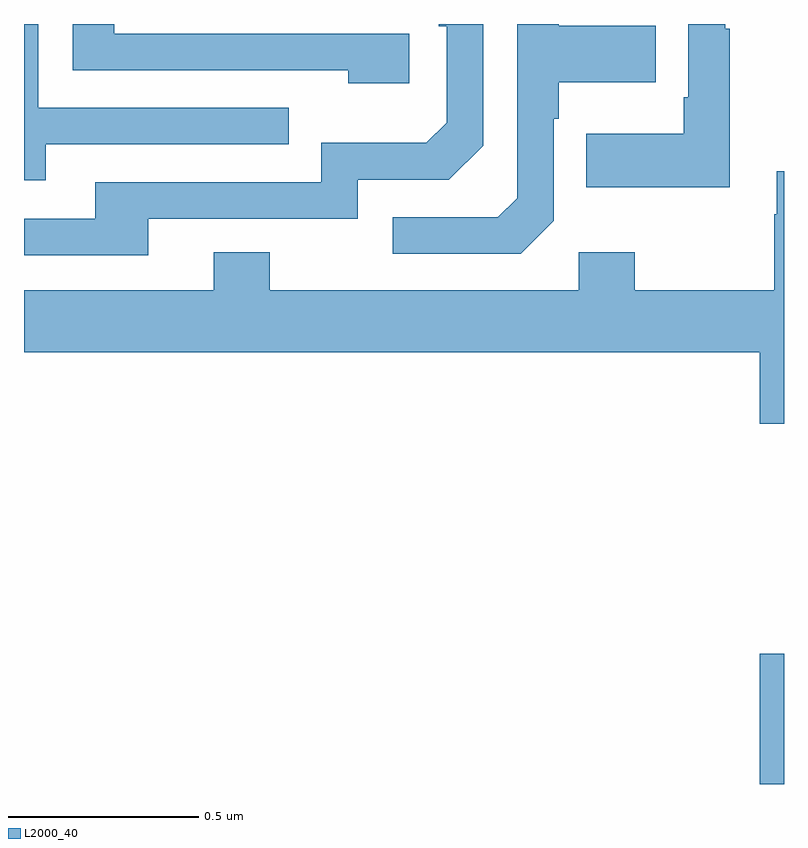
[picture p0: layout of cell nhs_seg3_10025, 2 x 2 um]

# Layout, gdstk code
import gdstk
lib = gdstk.Library(unit=1e-6, precision=1e-09)
def R(c, l, rs):  # rectangles x0, y0, x1, y1
    for r in rs: c.add(gdstk.rectangle(r[:2], r[2:], *l))
def P(c, l, *ps):  # polygons
    for p in ps: c.add(gdstk.Polygon(p, *l))
L2000_40 = (2000, 40)

nhs_seg3_10025 = lib.new_cell('nhs_seg3_10025')
R(nhs_seg3_10025, L2000_40, [(236.936,746.4,237,746.743)])
P(nhs_seg3_10025, L2000_40, [(235.057,748.083),(235.697,748.083),(235.697,748.179),(235.038,748.179),(235.038,748.4),(235,748.4),(235,747.989),(235.057,747.989)],
  [(236.394,747.882),(236.394,748.151),(236.407,748.151),(236.407,748.247),(236.663,748.247),(236.663,748.395),(236.407,748.395),(236.407,748.4),(236.298,748.4),(236.298,747.942),(236.247,747.891),(235.971,747.891),(235.971,747.795),(236.307,747.795)],
  [(235.327,747.888),(235.878,747.888),(235.878,747.99),(236.118,747.99),(236.208,748.08),(236.208,748.4),(236.092,748.4),(236.092,748.394),(236.112,748.394),(236.112,748.14),(236.059,748.087),(235.782,748.087),(235.782,747.984),(235.187,747.984),(235.187,747.888),(235,747.888),(235,747.792),(235.327,747.792)],
  [(236.857,748.387),(236.845,748.387),(236.845,748.4),(236.748,748.4),(236.748,748.207),(236.736,748.207),(236.736,748.111),(236.479,748.111),(236.479,747.971),(236.857,747.971)],
  [(236.014,748.374),(235.237,748.374),(235.237,748.4),(235.128,748.4),(235.128,748.278),(235.853,748.278),(235.853,748.244),(236.014,748.244)],
  [(236.46,747.799),(236.46,747.7),(235.647,747.7),(235.647,747.799),(235.499,747.799),(235.499,747.7),(235,747.7),(235,747.536),(236.936,747.536),(236.936,747.348),(237,747.348),(237,748.012),(236.981,748.012),(236.981,747.899),(236.974,747.899),(236.974,747.7),(236.607,747.7),(236.607,747.799)])

lib.write_gds('nhs_seg3_10025.gds')
